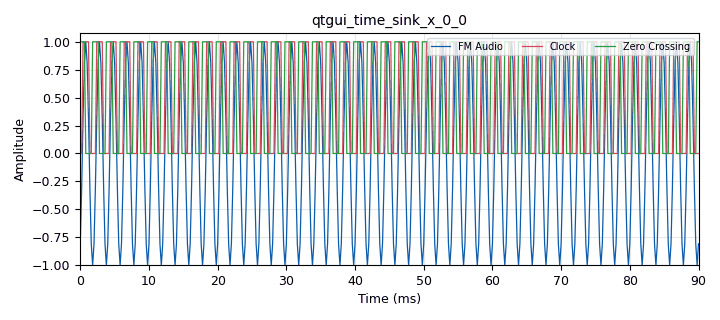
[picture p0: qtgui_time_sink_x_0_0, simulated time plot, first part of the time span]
<?xml version='1.0' encoding='utf-8'?>
<?grc format='1' created='3.7.11'?>
<flow_graph>
<block>
<key>options</key>
<param><key>id</key><value>rdf_sim</value></param>
<param><key>generate_options</key><value>qt_gui</value></param>
<param><key>title</key><value>RDF Simulator</value></param>
</block>
<block>
<key>variable</key>
<param><key>id</key><value>freq</value></param>
<param><key>value</key><value>500</value></param>
</block>
<block>
<key>variable</key>
<param><key>id</key><value>samp_rate</value></param>
<param><key>value</key><value>5000</value></param>
</block>
<block>
<key>variable_qtgui_range</key>
<param><key>id</key><value>shift_slider</value></param>
<param><key>value</key><value>0</value></param>
<param><key>orient</key><value>Qt.Horizontal</value></param>
<param><key>start</key><value>0</value></param>
<param><key>step</key><value>0.1</value></param>
<param><key>stop</key><value>2* math.pi</value></param>
<param><key>widget</key><value>slider</value></param>
</block>
<block>
<key>analog_sig_source_x</key>
<param><key>id</key><value>analog_sig_source_x_0</value></param>
<param><key>amp</key><value>1</value></param>
<param><key>freq</key><value>freq</value></param>
<param><key>offset</key><value>0</value></param>
<param><key>type</key><value>complex</value></param>
<param><key>samp_rate</key><value>samp_rate</value></param>
<param><key>waveform</key><value>analog.GR_COS_WAVE</value></param>
</block>
<block>
<key>analog_sig_source_x</key>
<param><key>id</key><value>analog_sig_source_x_1</value></param>
<param><key>amp</key><value>1</value></param>
<param><key>freq</key><value>freq </value></param>
<param><key>offset</key><value>0</value></param>
<param><key>type</key><value>float</value></param>
<param><key>samp_rate</key><value>samp_rate</value></param>
<param><key>waveform</key><value>analog.GR_SQR_WAVE</value></param>
</block>
<block>
<key>blocks_and_xx</key>
<param><key>id</key><value>blocks_and_xx_0</value></param>
<param><key>_enabled</key><value>0</value></param>
<param><key>type</key><value>int</value></param>
</block>
<block>
<key>blocks_complex_to_float</key>
<param><key>id</key><value>blocks_complex_to_float_0</value></param>
</block>
<block>
<key>blocks_float_to_uchar</key>
<param><key>id</key><value>blocks_float_to_uchar_0</value></param>
</block>
<block>
<key>blocks_float_to_uchar</key>
<param><key>id</key><value>blocks_float_to_uchar_0_0</value></param>
</block>
<block>
<key>blocks_multiply_const_vxx</key>
<param><key>id</key><value>blocks_multiply_const_vxx_0</value></param>
<param><key>const</key><value>complex(math.cos(shift_slider),math.sin(shift_slider))</value></param>
<param><key>type</key><value>complex</value></param>
</block>
<block>
<key>blocks_threshold_ff</key>
<param><key>id</key><value>blocks_threshold_ff_1</value></param>
<param><key>high</key><value>0</value></param>
<param><key>init</key><value>0</value></param>
<param><key>low</key><value>0</value></param>
</block>
<block>
<key>blocks_throttle</key>
<param><key>id</key><value>blocks_throttle_0</value></param>
<param><key>samples_per_second</key><value>samp_rate</value></param>
<param><key>type</key><value>complex</value></param>
</block>
<block>
<key>blocks_throttle</key>
<param><key>id</key><value>blocks_throttle_0_0</value></param>
<param><key>samples_per_second</key><value>samp_rate</value></param>
<param><key>type</key><value>float</value></param>
</block>
<block>
<key>blocks_uchar_to_float</key>
<param><key>id</key><value>blocks_uchar_to_float_0</value></param>
<param><key>_enabled</key><value>0</value></param>
</block>
<block>
<key>digital_binary_slicer_fb</key>
<param><key>id</key><value>digital_binary_slicer_fb_0</value></param>
<param><key>_enabled</key><value>0</value></param>
</block>
<block>
<key>epy_block</key>
<param><key>id</key><value>epy_block_0_0</value></param>
<param><key>_source_code</key><value>"""
Embedded Python Blocks:

Each time this file is saved, GRC will instantiate the first class it finds
to get ports and parameters of your block. The arguments to __init__  will
be the parameters. All of them are required to have default values!
"""

import numpy as np
from gnuradio import gr


class blk(gr.sync_block):  # other base classes are basic_block, decim_block, interp_block
    """Embedded Python Block example - a simple multiply const"""

    total_samples = 0
    
    def __init__(self, samp_rate=1.0):  # only default arguments here
        """arguments to this function show up as parameters in GRC"""
        gr.sync_block.__init__(
            self,
            name='Phase Measurement',   # will show up in GRC
            in_sig=[np.uint8, np.uint8],
            out_sig=[np.float32]
        )
        # np types int32  
        # if an attribute with the same name as a parameter is found,
        # a callback is registered (properties work, too).
        self.samp_rate = samp_rate

    def work(self, input_items, output_items):
        print('Input Items[0]: ' + str(input_items[0]))
        print('Input Items[1]: ' + str(input_items[1]))
        max = [0,0]
        min = [0,0]
        max[0] = np.argmax(input_items[0])
        max[1] = np.argmax(input_items[1])
        min[0] = np.argmin(input_items[0])
        min[1] = np.argmin(input_items[1])
            # check for length
            # try putting a delay here...
        if max[0] and max[1]: 
            angle = (max[0] - max[1]) * 180 / 10
            print('MAX ' + str(max[0]) + ' ' + str(max[1]) + ' ' + str(angle))
            output_items[0][:] = angle
            print(output_items[0][:])
        elif min[0] and min[1]: 
            angle = (min[0] - min[1]) * 180 / 10
            print('MIN ' + str(min[0]) + ' ' + str(min[1]) + ' ' + str(angle))
            output_items[0][:] = angle
            print(output_items[0][:])
        else:
            # needs xor
            print('needs more work')

        # print(str(type(input_items[0])))
        # self.total_samples += len(input_items[0])
        # self.total_samples += 1
        # print('current samples: ' + str(len(input_items[0])))
        # print('total samples  : ' + str(self.total_samples))
        #output_items[0][:] = input_items[0] * self.example_param
        # output_items[0][:] = self.total_samples
        return len(output_items[0])
</value></param>
<param><key>samp_rate</key><value>samp_rate</value></param>
</block>
<block>
<key>epy_module</key>
<param><key>id</key><value>epy_module_0</value></param>
<param><key>source_code</key><value># this module will be imported in the into your flowgraph</value></param>
<param><key>_enabled</key><value>0</value></param>
</block>
<block>
<key>import</key>
<param><key>id</key><value>import_0</value></param>
<param><key>import</key><value>import math</value></param>
</block>
<block>
<key>qtgui_time_sink_x</key>
<param><key>id</key><value>qtgui_time_sink_x_0_0</value></param>
<param><key>ctrlpanel</key><value>True</value></param>
<param><key>entags</key><value>False</value></param>
<param><key>color1</key><value>"blue"</value></param>
<param><key>label1</key><value>FM Audio</value></param>
<param><key>color2</key><value>"red"</value></param>
<param><key>label2</key><value>Clock</value></param>
<param><key>style2</key><value>4</value></param>
<param><key>color3</key><value>"green"</value></param>
<param><key>label3</key><value>Zero Crossing</value></param>
<param><key>nconnections</key><value>3</value></param>
<param><key>size</key><value>1024</value></param>
<param><key>srate</key><value>samp_rate</value></param>
<param><key>type</key><value>float</value></param>
</block>
<block>
<key>qtgui_time_sink_x</key>
<param><key>id</key><value>qtgui_time_sink_x_0_0_0_0</value></param>
<param><key>ctrlpanel</key><value>True</value></param>
<param><key>color1</key><value>"blue"</value></param>
<param><key>label1</key><value>Gate</value></param>
<param><key>size</key><value>10</value></param>
<param><key>srate</key><value>samp_rate</value></param>
<param><key>type</key><value>float</value></param>
<param><key>ymax</key><value>180</value></param>
<param><key>ymin</key><value>-180</value></param>
</block>
<connection><source_block_id>analog_sig_source_x_0</source_block_id><sink_block_id>blocks_throttle_0</sink_block_id><source_key>0</source_key><sink_key>0</sink_key></connection>
<connection><source_block_id>analog_sig_source_x_1</source_block_id><sink_block_id>blocks_throttle_0_0</sink_block_id><source_key>0</source_key><sink_key>0</sink_key></connection>
<connection><source_block_id>blocks_complex_to_float_0</source_block_id><sink_block_id>blocks_threshold_ff_1</sink_block_id><source_key>0</source_key><sink_key>0</sink_key></connection>
<connection><source_block_id>blocks_complex_to_float_0</source_block_id><sink_block_id>qtgui_time_sink_x_0_0</sink_block_id><source_key>0</source_key><sink_key>0</sink_key></connection>
<connection><source_block_id>blocks_float_to_uchar_0</source_block_id><sink_block_id>epy_block_0_0</sink_block_id><source_key>0</source_key><sink_key>0</sink_key></connection>
<connection><source_block_id>blocks_float_to_uchar_0_0</source_block_id><sink_block_id>epy_block_0_0</sink_block_id><source_key>0</source_key><sink_key>1</sink_key></connection>
<connection><source_block_id>blocks_multiply_const_vxx_0</source_block_id><sink_block_id>blocks_complex_to_float_0</sink_block_id><source_key>0</source_key><sink_key>0</sink_key></connection>
<connection><source_block_id>blocks_threshold_ff_1</source_block_id><sink_block_id>blocks_float_to_uchar_0</sink_block_id><source_key>0</source_key><sink_key>0</sink_key></connection>
<connection><source_block_id>blocks_threshold_ff_1</source_block_id><sink_block_id>qtgui_time_sink_x_0_0</sink_block_id><source_key>0</source_key><sink_key>1</sink_key></connection>
<connection><source_block_id>blocks_throttle_0</source_block_id><sink_block_id>blocks_multiply_const_vxx_0</sink_block_id><source_key>0</source_key><sink_key>0</sink_key></connection>
<connection><source_block_id>blocks_throttle_0_0</source_block_id><sink_block_id>blocks_float_to_uchar_0_0</sink_block_id><source_key>0</source_key><sink_key>0</sink_key></connection>
<connection><source_block_id>blocks_throttle_0_0</source_block_id><sink_block_id>qtgui_time_sink_x_0_0</sink_block_id><source_key>0</source_key><sink_key>2</sink_key></connection>
<connection><source_block_id>epy_block_0_0</source_block_id><sink_block_id>qtgui_time_sink_x_0_0_0_0</sink_block_id><source_key>0</source_key><sink_key>0</sink_key></connection>
</flow_graph>
